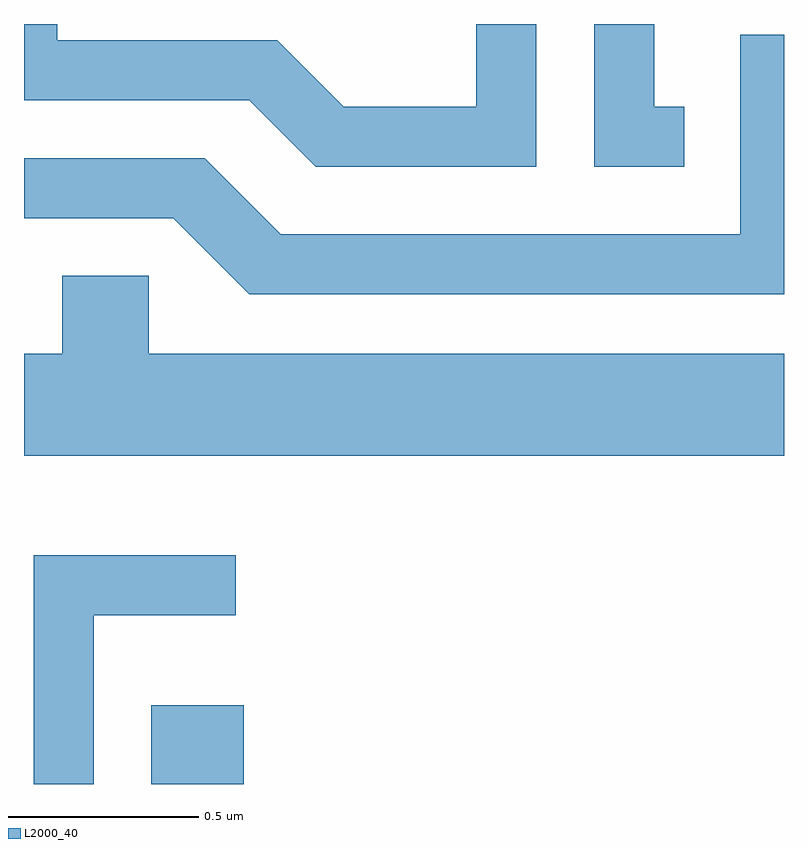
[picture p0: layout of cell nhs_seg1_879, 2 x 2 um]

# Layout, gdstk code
import gdstk
lib = gdstk.Library(unit=1e-6, precision=1e-09)
def R(c, l, rs):  # rectangles x0, y0, x1, y1
    for r in rs: c.add(gdstk.rectangle(r[:2], r[2:], *l))
def P(c, l, *ps):  # polygons
    for p in ps: c.add(gdstk.Polygon(p, *l))
L2000_40 = (2000, 40)

nhs_seg1_879 = lib.new_cell('nhs_seg1_879')
R(nhs_seg1_879, L2000_40, [(191.946,898.712,192.189,898.919)])
P(nhs_seg1_879, L2000_40, [(192.959,900.712),(192.801,900.712),(192.801,900.494),(192.452,900.494),(192.277,900.669),(191.699,900.669),(191.699,900.712),(191.611,900.712),(191.611,900.511),(192.204,900.511),(192.379,900.336),(192.959,900.336)],
  [(193.348,900.494),(193.269,900.494),(193.269,900.712),(193.111,900.712),(193.111,900.336),(193.348,900.336)],
  [(193.611,900.684),(193.496,900.684),(193.496,900.159),(192.287,900.159),(192.087,900.359),(191.611,900.359),(191.611,900.201),(192.004,900.201),(192.204,900.001),(193.611,900.001)],
  [(193.611,899.844),(191.939,899.844),(191.939,900.049),(191.711,900.049),(191.711,899.844),(191.611,899.844),(191.611,899.576),(193.611,899.576)],
  [(191.794,899.156),(192.168,899.156),(192.168,899.314),(191.636,899.314),(191.636,898.712),(191.794,898.712)])

lib.write_gds('nhs_seg1_879.gds')
